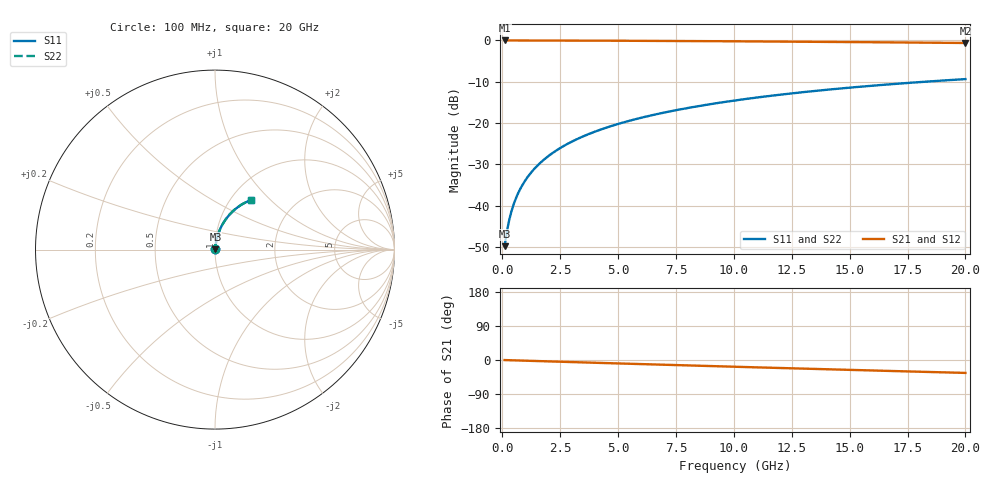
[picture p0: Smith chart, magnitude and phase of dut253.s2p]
! Touchstone file exported from HFSS 2026.1.0
!  File:  C:/ffzhzh/LocalFiles/Ansys_Project_Files/temp_train_TMRDL_253_1782984868_41620.aedt
!  Generated:  05:35:48 PM Jul  2, 2026
!  Design:  TMRDL
!  Project:  temp_train_TMRDL_253_1782984868_41620
! Variables:
!  h_bsmrdl = 2um
!  h_ox = 20um
!  h_rdl = 5um
!  h_sub = 80um
!  h_tmrdl = 5.09um
!  h_tsv = 80um
!  h_via = 3um
!  l_bsmrdl = 300um
!  l_sub = 882.75um
!  l_tmrdl = 482.75um
!  m_sub = 200um
!  pitch = 39.9um
!  r_tsv = 6um
!  s_tmrdl = 10um
!  w_bsmrdl = 18um
!  w_sub = 500um
!  w_tmrdl = 14.38um
!  x_tsv_center1 = 489.94um
!  x_tsv_center2 = 807.94um
!  x_tsv_center3 = 1305.07um
!  x_tsv_center4 = 1623.07um
!  x_tsv_center5 = 2120.2um
!  x_tsv_center6 = 2438.2um
# GHz S MA R 50.000000
! Terminal data exported
! Port[1] = TM_RDL1_1_T1
! Port[2] = TM_RDL1_1_T2
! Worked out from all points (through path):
!   200 points, 100 MHz to 20 GHz, reference 50 ohm
!   highest |S21| = -0.02 dB at 100 MHz (marker M1); lowest = -0.6 dB at 20 GHz (marker M2)
!   group delay of S21, straight-line fit = 4.73 ps
!   lowest |S11| = -49.8 dB at 100 MHz (marker M3), VSWR 1.01, Z = 50.2 + j0.211 ohm
!   |S11| at or under -10 dB: start of sweep to 18.3 GHz
!   |S22| runs from -49.8 to -9.4 dB; largest |S21 - S12| = 2e-15
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0.1  0.003219 40.8  0.9976 -0.2  0.9976 -0.2  0.003219 40.8
! Gamma 0 0 0 0
! Port Impedance 50 0 50 0
0.2  0.004872 58.6  0.9975 -0.4  0.9975 -0.4  0.004872 58.6
0.3  0.006713 66.7  0.9974 -0.6  0.9974 -0.6  0.006713 66.7
0.4  0.008606 71.3  0.9973 -0.7  0.9973 -0.7  0.008606 71.3
0.5  0.01052 74.1  0.9972 -0.9  0.9972 -0.9  0.01052 74.1
0.6  0.01246 76.1  0.9972 -1.1  0.9972 -1.1  0.01246 76.1
0.8  0.01636 78.5  0.997 -1.5  0.997 -1.5  0.01636 78.5
1.1  0.02224 80.3  0.9968 -2.0  0.9968 -2.0  0.02224 80.3
1.5  0.03011 81.3  0.9964 -2.8  0.9964 -2.8  0.03011 81.3
1.8  0.036 81.5  0.9961 -3.3  0.9961 -3.3  0.036 81.5
2.1  0.04187 81.4  0.9957 -3.9  0.9957 -3.9  0.04187 81.4
2.7  0.05355 81.0  0.9948 -5.0  0.9948 -5.0  0.05355 81.0
3.5  0.06893 80.0  0.9933 -6.4  0.9933 -6.4  0.06893 80.0
4.2  0.08221 79.0  0.9918 -7.6  0.9918 -7.6  0.08221 79.0
5  0.09718 77.8  0.9899 -9.1  0.9899 -9.1  0.09718 77.8
5.9  0.1138 76.3  0.9876 -10.7  0.9876 -10.7  0.1138 76.4
6.8  0.1302 74.9  0.985 -12.2  0.985 -12.2  0.1301 74.9
8.3  0.1569 72.5  0.9804 -14.8  0.9804 -14.8  0.1569 72.5
10.1  0.1881 69.6  0.9742 -17.9  0.9742 -17.9  0.1881 69.6
13.4  0.2426 64.4  0.9611 -23.5  0.9611 -23.5  0.2425 64.4
16.7  0.2932 59.2  0.9462 -28.9  0.9462 -28.9  0.2932 59.2
20  0.3396 54.2  0.9301 -34.1  0.9301 -34.1  0.3396 54.2
